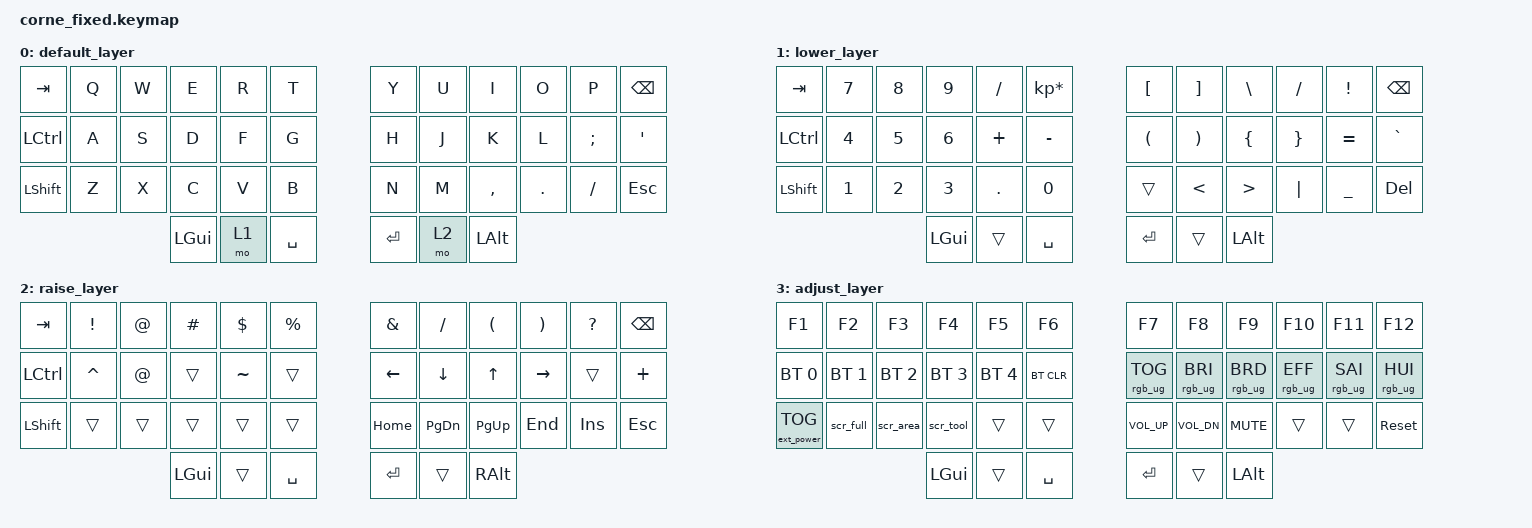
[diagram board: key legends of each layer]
/*
 * Copyright (c) 2020 The ZMK Contributors
 *
 * SPDX-License-Identifier: MIT
 */

#include <behaviors.dtsi>
#include <dt-bindings/zmk/keys.h>
#include <dt-bindings/zmk/bt.h>
#include <dt-bindings/zmk/rgb.h>
#include <dt-bindings/zmk/ext_power.h>

/ {
        macros {
                scr_full: screenshot_full {
                        compatible = "zmk,behavior-macro";
                        #binding-cells = <0>;
                        bindings = <&macro_press &kp LGUI>
                                 , <&macro_press &kp LSHFT>
                                 , <&macro_tap &kp N3>
                                 , <&macro_release &kp LSHFT>
                                 , <&macro_release &kp LGUI>;
                };
                scr_area: screenshot_area {
                        compatible = "zmk,behavior-macro";
                        #binding-cells = <0>;
                        bindings = <&macro_press &kp LGUI>
                                 , <&macro_press &kp LSHFT>
                                 , <&macro_tap &kp N4>
                                 , <&macro_release &kp LSHFT>
                                 , <&macro_release &kp LGUI>;
                };
                scr_tool: screenshot_tool {
                        compatible = "zmk,behavior-macro";
                        #binding-cells = <0>;
                        bindings = <&macro_press &kp LGUI>
                                 , <&macro_press &kp LSHFT>
                                 , <&macro_tap &kp N5>
                                 , <&macro_release &kp LSHFT>
                                 , <&macro_release &kp LGUI>;
                };
        };

        keymap {
                compatible = "zmk,keymap";

                default_layer {
// -----------------------------------------------------------------------------------------
// |  TAB |  Q  |  W  |  E  |  R  |  T  |   |  Y  |  U   |  I  |  O  |  P  | BKSP |
// | CTRL |  A  |  S  |  D  |  F  |  G  |   |  H  |  J   |  K  |  L  |  ;  |  '   |
// | SHFT |  Z  |  X  |  C  |  V  |  B  |   |  N  |  M   |  ,  |  .  |  /  | ESC  |
//                    | GUI | LWR | SPC |   | ENT | RSE  | ALT |
                        bindings = <
   &kp TAB   &kp Q &kp W &kp E &kp R &kp T   &kp Y &kp U  &kp I     &kp O   &kp P    &kp BSPC
   &kp LCTRL &kp A &kp S &kp D &kp F &kp G   &kp H &kp J  &kp K     &kp L   &kp SEMI &kp SQT
   &kp LSHFT &kp Z &kp X &kp C &kp V &kp B   &kp N &kp M  &kp COMMA &kp DOT &kp FSLH &kp ESC
                  &kp LGUI &mo 1 &kp SPACE   &kp RET &mo 2 &kp LALT
                        >;
                };
                
                lower_layer {
// -----------------------------------------------------------------------------------------
// |  TAB |  7  |  8  |  9  |  /  |  *  |   |  [  |  ]  |  \  |  ¿  |  ¡  | BKSP |
// | CTRL |  4  |  5  |  6  |  +  |  -  |   |  (  |  )  |  {  |  }  |  =  |  `   |
// | SHFT |  1  |  2  |  3  |  .  |  0  |   |     |  <  |  >  |  |  |  _  | DEL  |
//                    | GUI |     | SPC |   | ENT |     | ALT |
                        bindings = <
   &kp TAB   &kp N7 &kp N8 &kp N9 &kp FSLH  &kp KP_MULTIPLY    &kp LBKT &kp RBKT &kp BSLH &kp SLASH &kp EXCL  &kp BSPC
   &kp LCTRL &kp N4 &kp N5 &kp N6 &kp PLUS  &kp MINUS   &kp LPAR &kp RPAR &kp LBRC &kp RBRC  &kp EQUAL &kp GRAVE
   &kp LSHFT &kp N1 &kp N2 &kp N3 &kp DOT   &kp N0      &trans   &kp LT   &kp GT   &kp PIPE  &kp UNDER &kp DEL
                          &kp LGUI &trans &kp SPACE   &kp RET &trans &kp LALT
                        >;
                };

                raise_layer {
// -----------------------------------------------------------------------------------------
// |  TAB |  !  |  @  |  #  |  $  |  %  |   |  &  |  /  |  (  |  )  |  ?  | BKSP |
// | CTRL |  ^  |  @  |  €  |  ~  |  °  |   | LFT | DWN | UP  | RGT |  ¨  |  +   |
// | SHFT |trans|trans|trans|trans|trans|   | HOM | PGD | PGU | END | INS | ESC  |
//                    | GUI |     | SPC |   | ENT |     | ALTGR |
                        bindings = <
   &kp TAB   &kp EXCL  &kp AT    &kp HASH  &kp DLLR  &kp PRCNT   &kp AMPS  &kp FSLH    &kp LPAR    &kp RPAR  &kp QMARK &kp BSPC
   &kp LCTRL &kp CARET &kp AT    &trans    &kp TILDE &trans      &kp LEFT  &kp DOWN    &kp UP      &kp RIGHT &trans    &kp PLUS
   &kp LSHFT &trans    &trans    &trans    &trans    &trans      &kp HOME  &kp PG_DN   &kp PG_UP   &kp END   &kp INS   &kp ESC
                                 &kp LGUI  &trans    &kp SPACE   &kp RET   &trans      &kp RALT
                        >;
                };

                adjust_layer {
// -----------------------------------------------------------------------------------------
// |  F1  |  F2 |  F3 |  F4 |  F5 |  F6 |   |  F7 |  F8 |  F9 | F10 | F11 | F12  |
// | BT0  | BT1 | BT2 | BT3 | BT4 |BTCLR|   |RGBTG|BRI+ |BRI- | EFF |SAT+ | HUE+ |
// |PWROFF|SCR1 |SCR2 |SCR3 |     |     |   |VOL+ |VOL- |MUTE |     |     |RESET |
//                    | GUI |     | SPC |   | ENT |     | ALT |
                        bindings = <
   &kp F1           &kp F2       &kp F3       &kp F4       &kp F5       &kp F6          &kp F7          &kp F8            &kp F9            &kp F10      &kp F11          &kp F12
   &bt BT_SEL 0     &bt BT_SEL 1 &bt BT_SEL 2 &bt BT_SEL 3 &bt BT_SEL 4 &bt BT_CLR      &rgb_ug RGB_TOG &rgb_ug RGB_BRI   &rgb_ug RGB_BRD   &rgb_ug RGB_EFF &rgb_ug RGB_SAI &rgb_ug RGB_HUI
   &ext_power EP_TOG &scr_full   &scr_area    &scr_tool    &trans       &trans          &kp C_VOL_UP    &kp C_VOL_DN      &kp C_MUTE        &trans       &trans           &sys_reset
                                              &kp LGUI     &trans       &kp SPACE       &kp RET         &trans            &kp LALT
                        >;
                };
        };

        conditional_layers {
                compatible = "zmk,conditional-layers";
                tri_layer {
                        if-layers = <1 2>;
                        then-layer = <3>;
                };
        };
};

&led_strip {
    chain-length = <27>;
};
